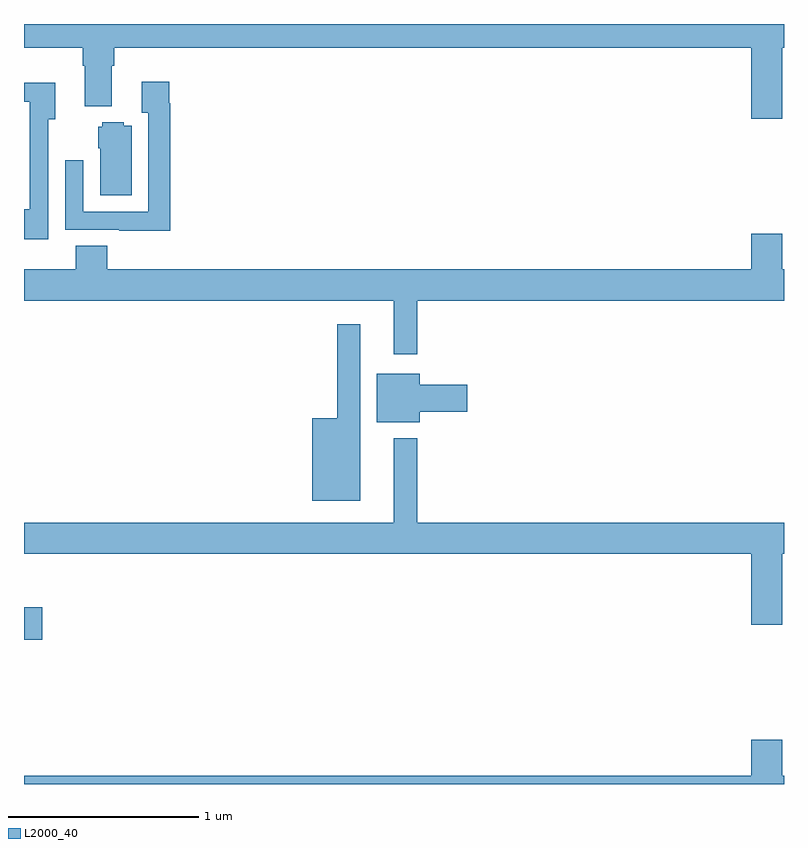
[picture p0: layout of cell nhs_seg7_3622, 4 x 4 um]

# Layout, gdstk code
import gdstk
lib = gdstk.Library(unit=1e-6, precision=1e-09)
def R(c, l, rs):  # rectangles x0, y0, x1, y1
    for r in rs: c.add(gdstk.rectangle(r[:2], r[2:], *l))
def P(c, l, *ps):  # polygons
    for p in ps: c.add(gdstk.Polygon(p, *l))
L2000_40 = (2000, 40)

nhs_seg7_3622 = lib.new_cell('nhs_seg7_3622')
R(nhs_seg7_3622, L2000_40, [(341,1070.759,341.095,1070.929)])
P(nhs_seg7_3622, L2000_40, [(344.992,1073.876),(345,1073.876),(345,1074),(341,1074),(341,1073.876),(341.309,1073.876),(341.309,1073.78),(341.321,1073.78),(341.321,1073.567),(341.461,1073.567),(341.461,1073.78),(341.474,1073.78),(341.474,1073.876),(344.828,1073.876),(344.828,1073.502),(344.992,1073.502)],
  [(341.771,1073.582),(341.764,1073.582),(341.764,1073.695),(341.621,1073.695),(341.621,1073.534),(341.655,1073.534),(341.655,1073.013),(341.313,1073.013),(341.313,1073.284),(341.217,1073.284),(341.217,1072.917),(341.501,1072.917),(341.501,1072.913),(341.771,1072.913)],
  [(341.127,1073.498),(341.164,1073.498),(341.164,1073.69),(341,1073.69),(341,1073.592),(341.031,1073.592),(341.031,1073.026),(341,1073.026),(341,1072.866),(341.127,1072.866)],
  [(341.566,1073.464),(341.526,1073.464),(341.526,1073.482),(341.412,1073.482),(341.412,1073.46),(341.39,1073.46),(341.39,1073.346),(341.402,1073.346),(341.402,1073.098),(341.566,1073.098)],
  [(343.069,1072.544),(345,1072.544),(345,1072.708),(344.992,1072.708),(344.992,1072.897),(344.828,1072.897),(344.828,1072.708),(341.438,1072.708),(341.438,1072.832),(341.273,1072.832),(341.273,1072.708),(341,1072.708),(341,1072.544),(342.947,1072.544),(342.947,1072.263),(343.069,1072.263)],
  [(342.769,1072.42),(342.648,1072.42),(342.648,1071.925),(342.518,1071.925),(342.518,1071.491),(342.769,1071.491)],
  [(343.084,1071.959),(343.333,1071.959),(343.333,1072.101),(343.084,1072.101),(343.084,1072.159),(342.857,1072.159),(342.857,1071.905),(343.084,1071.905)],
  [(344.992,1071.212),(345,1071.212),(345,1071.376),(343.069,1071.376),(343.069,1071.82),(342.947,1071.82),(342.947,1071.376),(341,1071.376),(341,1071.212),(344.828,1071.212),(344.828,1070.838),(344.992,1070.838)],
  [(345,1070.044),(344.992,1070.044),(344.992,1070.233),(344.828,1070.233),(344.828,1070.044),(341,1070.044),(341,1070),(345,1070)])

lib.write_gds('nhs_seg7_3622.gds')
